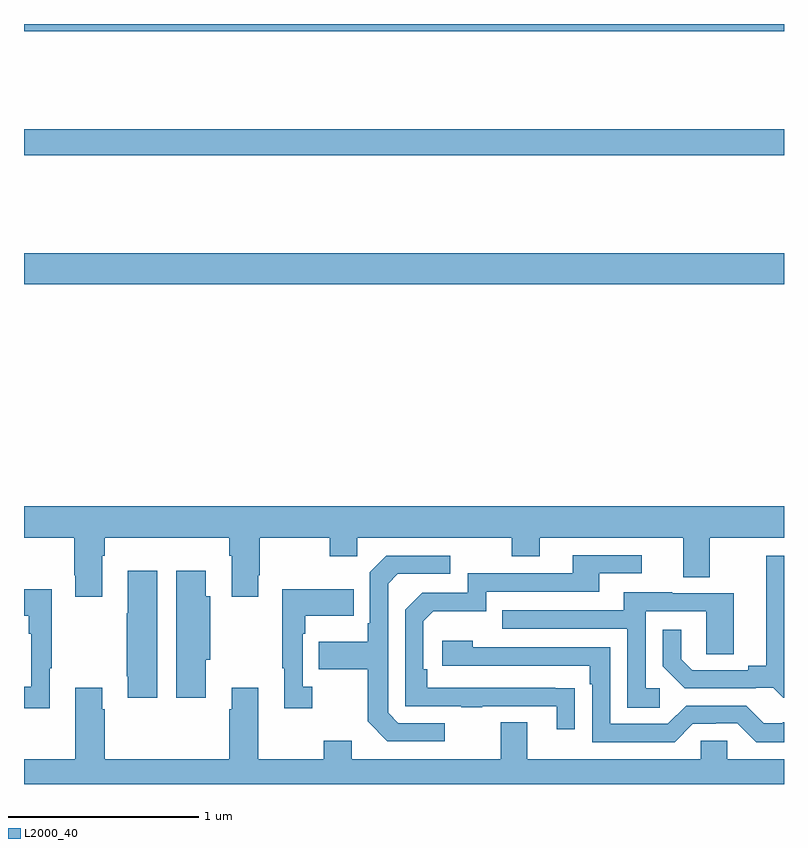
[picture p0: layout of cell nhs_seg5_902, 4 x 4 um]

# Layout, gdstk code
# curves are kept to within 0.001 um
import gdstk
lib = gdstk.Library(unit=1e-6, precision=1e-09)
def R(c, l, rs):  # rectangles x0, y0, x1, y1
    for r in rs: c.add(gdstk.rectangle(r[:2], r[2:], *l))
def P(c, l, *ps):  # polygons
    for p in ps: c.add(gdstk.Polygon(p, *l))
L2000_40 = (2000, 40)

nhs_seg5_902 = lib.new_cell('nhs_seg5_902')
R(nhs_seg5_902, L2000_40, [(169,855.428,173,855.592), (169,856.108,173,856.244), (169,856.76,173,856.799)])
P(nhs_seg5_902, L2000_40, [(169.411,854),(169.424,854),(169.424,854.096),(170.081,854.096),(170.081,854),(170.093,854),(170.093,853.785),(170.233,853.785),(170.233,853.897),(170.241,853.897),(170.241,854.096),(170.608,854.096),(170.608,853.997),(170.754,853.997),(170.754,854.096),(171.568,854.096),(171.568,853.997),(171.715,853.997),(171.715,854.096),(172.469,854.096),(172.469,853.888),(172.609,853.888),(172.609,854.096),(173,854.096),(173,854.26),(169,854.26),(169,854.096),(169.264,854.096),(169.264,853.897),(169.271,853.897),(169.271,853.785),(169.411,853.785)],
  [(171.899,853.304),(171.122,853.305),(171.122,853.402),(171.102,853.402),(171.102,853.656),(171.155,853.709),(171.432,853.709),(171.432,853.812),(172.027,853.812),(172.027,853.908),(172.252,853.908),(172.252,854.004),(171.887,854.004),(171.887,853.908),(171.336,853.908),(171.336,853.806),(171.096,853.806),(171.006,853.716),(171.006,853.209),(171.301,853.209),(171.301,853.204),(171.413,853.204),(171.413,853.209),(171.803,853.209),(171.803,853.086),(171.899,853.086)],
  [(171.214,853.119),(170.97,853.119),(170.916,853.173),(170.916,853.854),(170.967,853.905),(171.244,853.905),(171.244,854.001),(170.907,854.001),(170.82,853.914),(170.82,853.645),(170.808,853.645),(170.808,853.549),(170.551,853.549),(170.551,853.402),(170.808,853.402),(170.808,853.129),(170.913,853.023),(171.214,853.023)],
  [(173,854.001),(172.907,854.001),(172.907,853.421),(172.811,853.421),(172.811,853.398),(172.516,853.398),(172.459,853.455),(172.459,853.612),(172.362,853.612),(172.362,853.418),(172.478,853.302),(172.85,853.302),(172.85,853.305),(172.944,853.305),(172.996,853.253),(173,853.253)],
  [(169.957,853.452),(169.981,853.452),(169.981,853.788),(169.957,853.788),(169.957,853.921),(169.802,853.921),(169.802,853.254),(169.957,853.254)],
  [(169.702,853.921),(169.547,853.921),(169.547,853.697),(169.54,853.697),(169.54,853.366),(169.547,853.366),(169.547,853.254),(169.702,853.254)],
  [(169.135,853.409),(169.147,853.409),(169.147,853.825),(169,853.825),(169,853.685),(169.026,853.685),(169.026,853.589),(169.038,853.589),(169.038,853.31),(169,853.31),(169,853.197),(169.135,853.197)],
  [(170.518,853.31),(170.466,853.31),(170.466,853.589),(170.479,853.589),(170.479,853.685),(170.735,853.685),(170.735,853.825),(170.358,853.825),(170.358,853.409),(170.369,853.409),(170.369,853.197),(170.518,853.197)],
  [(172.345,853.302),(172.272,853.302),(172.272,853.707),(172.59,853.707),(172.59,853.483),(172.735,853.483),(172.735,853.803),(172.411,853.803),(172.411,853.807),(172.157,853.807),(172.157,853.713),(171.517,853.713),(171.517,853.617),(172.176,853.617),(172.176,853.201),(172.345,853.201)],
  [(173,853.123),(172.993,853.123),(172.993,853.119),(172.893,853.119),(172.8,853.212),(172.485,853.212),(172.389,853.116),(172.086,853.116),(172.086,853.518),(171.362,853.518),(171.362,853.552),(171.201,853.552),(171.201,853.422),(171.977,853.422),(171.977,853.325),(171.99,853.325),(171.99,853.02),(172.425,853.02),(172.521,853.116),(172.64,853.116),(172.64,853.119),(172.755,853.119),(172.855,853.019),(173,853.019)],
  [(173,852.928),(172.701,852.928),(172.701,853.026),(172.563,853.026),(172.563,852.928),(171.649,852.928),(171.649,853.123),(171.509,853.123),(171.509,852.928),(170.725,852.928),(170.725,853.027),(170.578,853.027),(170.578,852.928),(170.233,852.928),(170.233,853.306),(170.093,853.306),(170.093,853.193),(170.081,853.193),(170.081,852.928),(169.424,852.928),(169.424,853.193),(169.411,853.193),(169.411,853.306),(169.271,853.306),(169.271,852.928),(169,852.928),(169,852.799),(173,852.799)])

lib.write_gds('nhs_seg5_902.gds')
